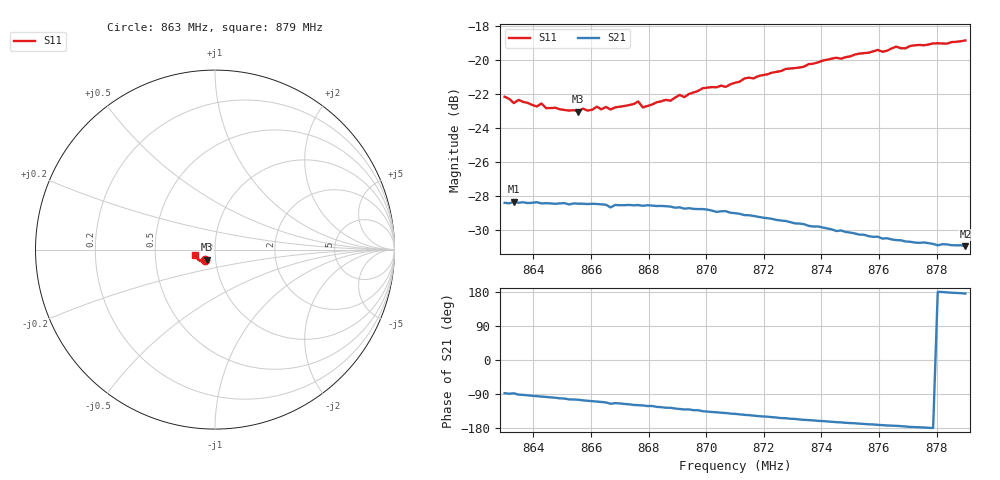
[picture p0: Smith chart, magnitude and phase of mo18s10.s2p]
# HZ S RI R 50
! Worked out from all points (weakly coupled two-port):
!   101 points, 863 MHz to 879 MHz, reference 50 ohm
!   highest |S21| = -28.33 dB at 863.32 MHz (marker M1); lowest = -31.0 dB at 879 MHz (marker M2)
!   lowest |S11| = -23.0 dB at 865.56 MHz (marker M3), VSWR 1.15, Z = 45.5 - j5.05 ohm
!   |S11| at or under -10 dB: start of sweep to end of sweep
!   S12 and S22 are empty: the file has one direction only
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8.63e8  -0.0531 -0.0571  0.00169 -0.038  0 0  0 0
8.6332e8  -0.0488 -0.0566  0.00146 -0.0383  0 0  0 0
8.6348e8  -0.0512 -0.0566  -0.000906 -0.038  0 0  0 0
8.6412e8  -0.0479 -0.0551  -0.00356 -0.038  0 0  0 0
8.6428e8  -0.0485 -0.0565  -0.00434 -0.0376  0 0  0 0
8.6444e8  -0.0463 -0.0554  -0.00494 -0.0376  0 0  0 0
8.6556e8  -0.0439 -0.0552  -0.00974 -0.0365  0 0  0 0
8.6572e8  -0.0438 -0.0571  -0.0107 -0.0362  0 0  0 0
8.6652e8  -0.0434 -0.0584  -0.014 -0.0348  0 0  0 0
8.6668e8  -0.0429 -0.0572  -0.0159 -0.0333  0 0  0 0
8.6764e8  -0.0435 -0.0617  -0.0183 -0.0327  0 0  0 0
8.678e8  -0.0423 -0.0589  -0.0186 -0.0323  0 0  0 0
8.6844e8  -0.0457 -0.0603  -0.0211 -0.0306  0 0  0 0
8.6876e8  -0.0425 -0.0629  -0.0218 -0.03  0 0  0 0
8.6908e8  -0.0481 -0.0626  -0.0233 -0.0285  0 0  0 0
8.6924e8  -0.0455 -0.0631  -0.0237 -0.0278  0 0  0 0
8.6988e8  -0.0487 -0.0668  -0.0258 -0.0257  0 0  0 0
8.7068e8  -0.0512 -0.0658  -0.0275 -0.0231  0 0  0 0
8.71e8  -0.0535 -0.067  -0.028 -0.0218  0 0  0 0
8.7372e8  -0.0709 -0.067  -0.0303 -0.0114  0 0  0 0
8.7644e8  -0.0934 -0.0546  -0.0295 -0.00346  0 0  0 0
8.79e8  -0.1099 -0.0309  -0.0282 0.00229  0 0  0 0
